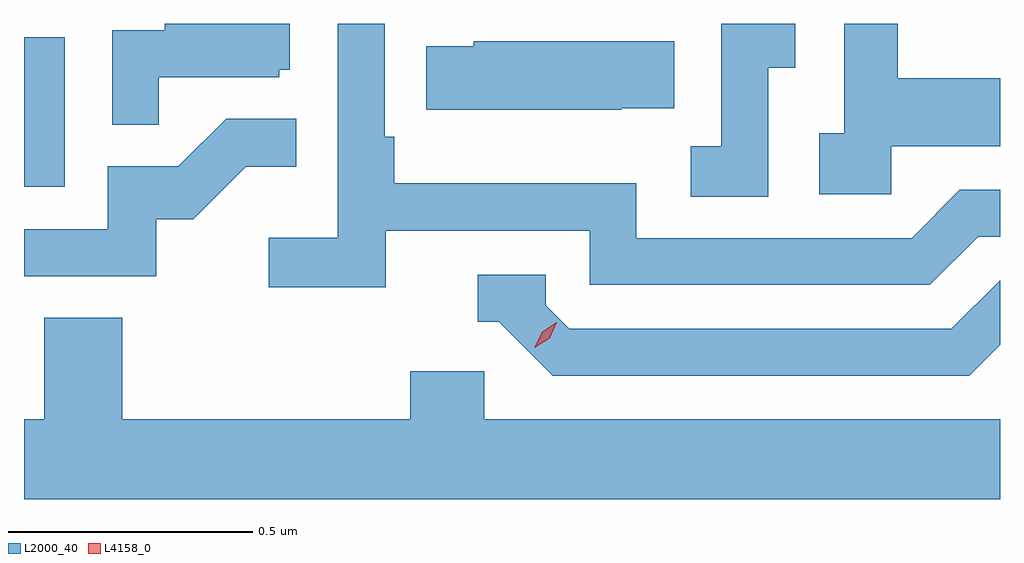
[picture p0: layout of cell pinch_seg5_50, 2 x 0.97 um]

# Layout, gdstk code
import gdstk
lib = gdstk.Library(unit=1e-6, precision=1e-09)
def R(c, l, rs):  # rectangles x0, y0, x1, y1
    for r in rs: c.add(gdstk.rectangle(r[:2], r[2:], *l))
def P(c, l, *ps):  # polygons
    for p in ps: c.add(gdstk.Polygon(p, *l))
L2000_40 = (2000, 40)
L4158_0 = (4158, 0)

pinch_seg5_50 = lib.new_cell('pinch_seg5_50')
R(pinch_seg5_50, L2000_40, [(1083.815,912.012,1083.898,912.319)])
P(pinch_seg5_50, L2000_40, [(1084.091,912.237),(1084.338,912.237),(1084.338,912.252),(1084.36,912.252),(1084.36,912.346),(1084.103,912.346),(1084.103,912.333),(1083.996,912.333),(1083.996,912.139),(1084.091,912.139)],
  [(1084.556,911.922),(1084.974,911.922),(1084.974,911.811),(1085.671,911.811),(1085.77,911.91),(1085.815,911.91),(1085.815,912.006),(1085.733,912.006),(1085.634,911.907),(1085.07,911.907),(1085.07,912.019),(1084.574,912.019),(1084.574,912.115),(1084.554,912.115),(1084.554,912.346),(1084.458,912.346),(1084.458,911.908),(1084.317,911.908),(1084.317,911.806),(1084.556,911.806)],
  [(1085.592,912.095),(1085.815,912.095),(1085.815,912.235),(1085.605,912.235),(1085.605,912.346),(1085.496,912.346),(1085.496,912.122),(1085.445,912.122),(1085.445,911.997),(1085.592,911.997)],
  [(1085.34,912.256),(1085.395,912.256),(1085.395,912.346),(1085.244,912.346),(1085.244,912.095),(1085.181,912.095),(1085.181,911.992),(1085.34,911.992)],
  [(1085.039,912.173),(1085.147,912.173),(1085.147,912.31),(1084.737,912.31),(1084.737,912.3),(1084.639,912.3),(1084.639,912.17),(1085.039,912.17)],
  [(1084.086,911.946),(1084.162,911.946),(1084.269,912.053),(1084.373,912.053),(1084.373,912.152),(1084.229,912.152),(1084.131,912.054),(1083.987,912.054),(1083.987,911.925),(1083.815,911.925),(1083.815,911.829),(1084.086,911.829)],
  [(1085.815,911.688),(1085.815,911.82),(1085.814,911.82),(1085.715,911.721),(1084.932,911.721),(1084.884,911.769),(1084.884,911.832),(1084.745,911.832),(1084.745,911.736),(1084.788,911.736),(1084.899,911.625),(1085.752,911.625)],
  [(1085.815,911.536),(1084.758,911.536),(1084.758,911.634),(1084.607,911.634),(1084.607,911.536),(1084.016,911.536),(1084.016,911.744),(1083.856,911.744),(1083.856,911.536),(1083.815,911.536),(1083.815,911.372),(1085.815,911.372)])
P(pinch_seg5_50, L4158_0, [(1084.862,911.682),(1084.862,911.683),(1084.877,911.715),(1084.907,911.735),(1084.907,911.735),(1084.907,911.735),(1084.892,911.702),(1084.862,911.682)])

lib.write_gds('pinch_seg5_50.gds')
